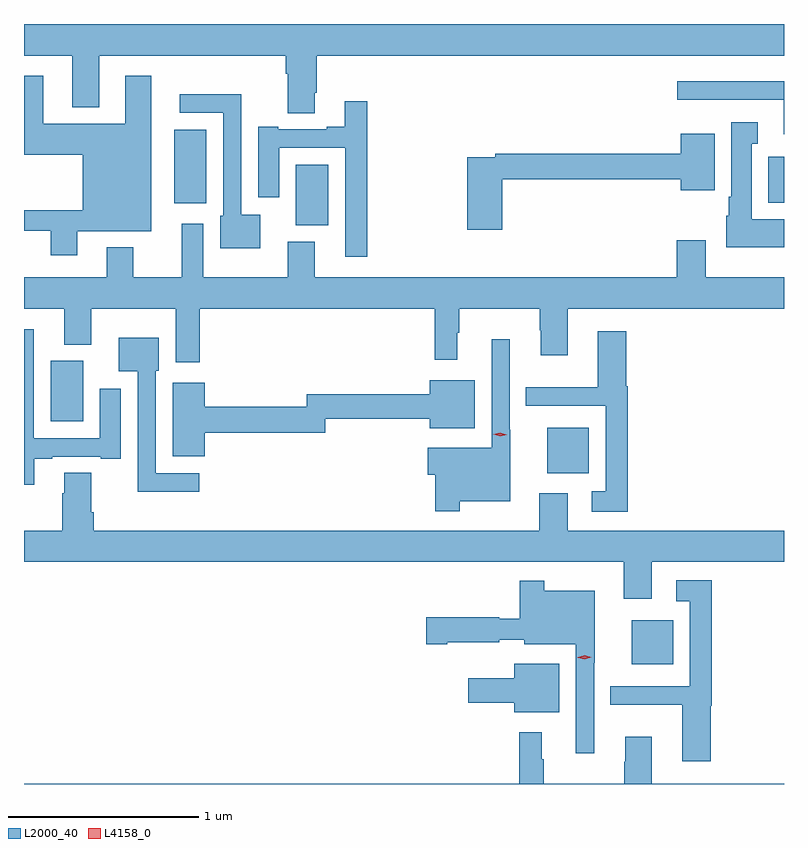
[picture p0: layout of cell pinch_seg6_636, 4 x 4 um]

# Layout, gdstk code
import gdstk
lib = gdstk.Library(unit=1e-6, precision=1e-09)
def R(c, l, rs):  # rectangles x0, y0, x1, y1
    for r in rs: c.add(gdstk.rectangle(r[:2], r[2:], *l))
def P(c, l, *ps):  # polygons
    for p in ps: c.add(gdstk.Polygon(p, *l))
L2000_40 = (2000, 40)
L4158_0 = (4158, 0)

pinch_seg6_636 = lib.new_cell('pinch_seg6_636')
R(pinch_seg6_636, L2000_40, [(456.794,953.456,457.012,953.689), (456.35,954.461,456.568,954.7), (453.737,954.734,453.907,955.054), (455.027,955.766,455.197,956.086), (454.388,955.883,454.555,956.269), (457.514,955.886,457.596,956.128)])
P(pinch_seg6_636, L2000_40, [(455.125,956.464),(455.138,956.464),(455.138,956.66),(457.596,956.66),(457.596,956.824),(456.457,956.824),(456.457,956.826),(456.317,956.826),(456.317,956.824),(453.596,956.824),(453.596,956.66),(453.851,956.66),(453.851,956.387),(453.991,956.387),(453.991,956.66),(454.973,956.66),(454.973,956.564),(454.985,956.564),(454.985,956.356),(455.125,956.356)],
  [(453.877,955.736),(454.267,955.736),(454.267,956.554),(454.13,956.554),(454.13,956.302),(453.697,956.302),(453.697,956.554),(453.596,956.554),(453.596,956.138),(453.905,956.138),(453.905,955.846),(453.596,955.846),(453.596,955.737),(453.737,955.737),(453.737,955.608),(453.877,955.608)],
  [(457.596,956.524),(457.035,956.524),(457.035,956.427),(457.595,956.427),(457.595,956.246),(457.596,956.246)],
  [(454.84,955.822),(454.74,955.822),(454.74,956.456),(454.416,956.456),(454.416,956.358),(454.644,956.358),(454.644,955.818),(454.628,955.818),(454.628,955.646),(454.84,955.646)],
  [(455.402,956.419),(455.285,956.419),(455.285,956.284),(455.189,956.284),(455.189,956.271),(454.933,956.271),(454.933,956.284),(454.829,956.284),(454.829,955.914),(454.939,955.914),(454.939,956.175),(455.286,956.175),(455.286,955.602),(455.402,955.602)],
  [(457.596,955.798),(457.426,955.798),(457.426,956.195),(457.459,956.195),(457.459,956.308),(457.319,956.308),(457.319,955.918),(457.304,955.918),(457.304,955.818),(457.292,955.818),(457.292,955.652),(457.596,955.652)],
  [(456.113,956.008),(457.052,956.008),(457.052,955.952),(457.231,955.952),(457.231,956.248),(457.052,956.248),(457.052,956.144),(456.076,956.144),(456.076,956.124),(455.93,956.124),(455.93,955.743),(456.113,955.743)],
  [(454.52,955.328),(455.758,955.328),(455.758,955.059),(455.876,955.059),(455.876,955.202),(455.887,955.202),(455.887,955.328),(456.31,955.328),(456.31,955.214),(456.317,955.214),(456.317,955.083),(456.457,955.083),(456.457,955.328),(457.596,955.328),(457.596,955.492),(457.183,955.492),(457.183,955.687),(457.031,955.687),(457.031,955.492),(455.125,955.492),(455.125,955.681),(454.985,955.681),(454.985,955.492),(454.54,955.492),(454.54,955.774),(454.427,955.774),(454.427,955.492),(454.171,955.492),(454.171,955.651),(454.031,955.651),(454.031,955.492),(453.596,955.492),(453.596,955.328),(453.809,955.328),(453.809,955.139),(453.949,955.139),(453.949,955.328),(454.394,955.328),(454.394,955.047),(454.52,955.047)],
  [(453.649,954.537),(453.745,954.537),(453.745,954.549),(454.001,954.549),(454.001,954.537),(454.105,954.537),(454.105,954.907),(453.995,954.907),(453.995,954.645),(453.648,954.645),(453.648,955.219),(453.596,955.219),(453.596,954.402),(453.649,954.402)],
  [(456.773,954.919),(456.767,954.919),(456.767,955.21),(456.617,955.21),(456.617,954.913),(456.238,954.913),(456.238,954.816),(456.657,954.816),(456.657,954.367),(456.585,954.367),(456.585,954.258),(456.773,954.258)],
  [(454.519,954.462),(454.29,954.462),(454.29,955.002),(454.306,955.002),(454.306,955.174),(454.094,955.174),(454.094,954.998),(454.194,954.998),(454.194,954.365),(454.519,954.365)],
  [(455.89,954.314),(456.155,954.314),(456.155,954.691),(456.153,954.691),(456.153,955.168),(456.057,955.168),(456.057,954.595),(455.72,954.595),(455.72,954.454),(455.761,954.454),(455.761,954.261),(455.89,954.261)],
  [(454.546,954.676),(455.181,954.676),(455.181,954.748),(455.732,954.748),(455.732,954.698),(455.968,954.698),(455.968,954.952),(455.732,954.952),(455.732,954.877),(455.085,954.877),(455.085,954.812),(454.546,954.812),(454.546,954.937),(454.379,954.937),(454.379,954.551),(454.546,954.551)],
  [(456.901,953.996),(457.596,953.996),(457.596,954.16),(456.457,954.16),(456.457,954.355),(456.308,954.355),(456.308,954.16),(453.962,954.16),(453.962,954.256),(453.949,954.256),(453.949,954.464),(453.809,954.464),(453.809,954.356),(453.797,954.356),(453.797,954.16),(453.596,954.16),(453.596,953.996),(456.752,953.996),(456.752,953.802),(456.901,953.802)],
  [(457.211,953.237),(457.217,953.237),(457.217,953.899),(457.029,953.899),(457.029,953.789),(457.101,953.789),(457.101,953.34),(456.682,953.34),(456.682,953.243),(457.061,953.243),(457.061,952.947),(457.211,952.947)],
  [(456.597,953.465),(456.599,953.465),(456.599,953.842),(456.334,953.842),(456.334,953.896),(456.205,953.896),(456.205,953.695),(456.096,953.695),(456.096,953.703),(455.712,953.703),(455.712,953.561),(455.824,953.561),(455.824,953.573),(456.096,953.573),(456.096,953.586),(456.228,953.586),(456.228,953.561),(456.501,953.561),(456.501,952.989),(456.597,952.989)],
  [(456.412,953.458),(456.176,953.458),(456.176,953.383),(455.934,953.383),(455.934,953.254),(456.176,953.254),(456.176,953.204),(456.412,953.204)],
  [(457.596,952.828),(456.901,952.828),(456.901,953.074),(456.761,953.074),(456.761,952.943),(456.754,952.943),(456.754,952.828),(456.331,952.828),(456.331,952.955),(456.32,952.955),(456.32,953.098),(456.202,953.098),(456.202,952.828),(453.596,952.828),(453.596,952.826),(457.596,952.826)])
P(pinch_seg6_636, L4158_0, [(456.547,953.483),(456.511,953.491),(456.511,953.491),(456.511,953.492),(456.546,953.503),(456.582,953.494),(456.582,953.494),(456.582,953.494)],
  [(456.102,954.655),(456.067,954.666),(456.067,954.666),(456.067,954.666),(456.103,954.675),(456.138,954.664),(456.138,954.663),(456.138,954.663)])

lib.write_gds('pinch_seg6_636.gds')
